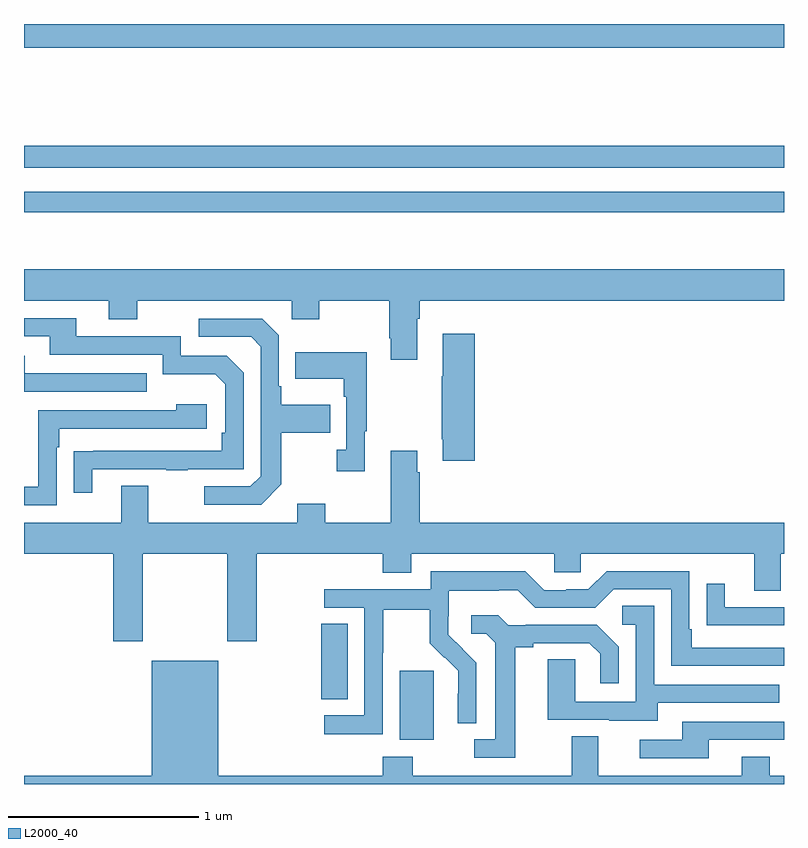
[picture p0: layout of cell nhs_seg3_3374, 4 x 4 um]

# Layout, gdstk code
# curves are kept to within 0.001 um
import gdstk
lib = gdstk.Library(unit=1e-6, precision=1e-09)
def R(c, l, rs):  # rectangles x0, y0, x1, y1
    for r in rs: c.add(gdstk.rectangle(r[:2], r[2:], *l))
def P(c, l, *ps):  # polygons
    for p in ps: c.add(gdstk.Polygon(p, *l))
L2000_40 = (2000, 40)

nhs_seg3_3374 = lib.new_cell('nhs_seg3_3374')
R(nhs_seg3_3374, L2000_40, [(288.977,670.634,289.156,670.995), (288.565,670.846,288.703,671.243), (287,673.41,291,673.518), (287,673.644,291,673.76), (287,674.276,291,674.4)])
P(nhs_seg3_3374, L2000_40, [(289.069,672.848),(289.082,672.848),(289.082,672.944),(291,672.944),(291,673.108),(287,673.108),(287,672.944),(287.447,672.944),(287.447,672.845),(287.595,672.845),(287.595,672.944),(288.408,672.944),(288.408,672.845),(288.555,672.845),(288.555,672.944),(288.922,672.944),(288.922,672.745),(288.929,672.745),(288.929,672.633),(289.069,672.633)],
  [(287.359,672.057),(287.749,672.057),(287.749,672.052),(287.861,672.052),(287.861,672.057),(288.156,672.057),(288.156,672.564),(288.066,672.654),(287.826,672.654),(287.826,672.756),(287.275,672.756),(287.275,672.852),(287,672.852),(287,672.756),(287.135,672.756),(287.135,672.66),(287.73,672.66),(287.73,672.557),(288.007,672.557),(288.06,672.504),(288.06,672.25),(288.04,672.25),(288.04,672.153),(287.263,672.152),(287.263,671.934),(287.359,671.934)],
  [(288.355,671.977),(288.355,672.25),(288.611,672.25),(288.611,672.397),(288.355,672.397),(288.355,672.493),(288.342,672.493),(288.342,672.762),(288.255,672.849),(287.919,672.849),(287.919,672.753),(288.195,672.753),(288.246,672.702),(288.246,672.021),(288.192,671.967),(287.949,671.967),(287.949,671.871),(288.249,671.871)],
  [(289.373,672.769),(289.205,672.769),(289.205,672.545),(289.198,672.545),(289.198,672.214),(289.205,672.214),(289.205,672.102),(289.373,672.102)],
  [(288.793,672.257),(288.805,672.257),(288.805,672.673),(288.427,672.673),(288.427,672.533),(288.684,672.533),(288.684,672.437),(288.696,672.437),(288.696,672.158),(288.645,672.158),(288.645,672.045),(288.793,672.045)],
  [(287.645,672.561),(287.005,672.561),(287.005,672.655),(287,672.655),(287,672.465),(287.645,672.465)],
  [(287.172,672.173),(287.185,672.173),(287.185,672.27),(287.962,672.27),(287.962,672.4),(287.801,672.4),(287.801,672.366),(287.076,672.366),(287.076,671.964),(287,671.964),(287,671.868),(287.172,671.868)],
  [(287.625,671.612),(288.07,671.612),(288.07,671.151),(288.225,671.151),(288.225,671.612),(288.887,671.612),(288.887,671.513),(289.039,671.513),(289.039,671.612),(289.791,671.612),(289.791,671.514),(289.929,671.514),(289.929,671.612),(290.843,671.612),(290.843,671.418),(290.983,671.418),(290.983,671.612),(291,671.612),(291,671.776),(289.082,671.776),(289.082,672.041),(289.069,672.041),(289.069,672.154),(288.929,672.154),(288.929,671.776),(288.585,671.776),(288.585,671.875),(288.437,671.875),(288.437,671.776),(287.653,671.776),(287.653,671.971),(287.513,671.971),(287.513,671.776),(287,671.776),(287,671.612),(287.47,671.612),(287.47,671.151),(287.625,671.151)],
  [(288.888,671.092),(288.891,671.092),(288.891,671.316),(289.135,671.316),(289.135,671.141),(289.212,671.064),(289.215,671.067),(289.286,670.997),(289.286,670.874),(289.284,670.874),(289.284,670.72),(289.38,670.72),(289.38,671.038),(289.234,671.186),(289.234,671.283),(289.236,671.283),(289.236,671.417),(289.499,671.417),(289.499,671.421),(289.599,671.421),(289.692,671.328),(290.007,671.328),(290.103,671.424),(290.406,671.424),(290.406,671.022),(291,671.022),(291,671.118),(290.515,671.118),(290.515,671.215),(290.502,671.215),(290.502,671.52),(290.067,671.52),(289.971,671.424),(289.853,671.424),(289.853,671.421),(289.737,671.421),(289.637,671.521),(289.14,671.521),(289.14,671.424),(288.579,671.424),(288.579,671.328),(288.792,671.328),(288.792,670.761),(288.579,670.761),(288.579,670.663),(288.888,670.663)],
  [(291,671.331),(290.689,671.331),(290.689,671.455),(290.593,671.455),(290.593,671.236),(290.695,671.236),(290.695,671.235),(291,671.235)],
  [(290.335,670.827),(290.975,670.827),(290.975,670.923),(290.316,670.923),(290.316,671.339),(290.148,671.339),(290.148,671.238),(290.22,671.238),(290.22,670.833),(289.902,670.833),(289.902,671.057),(289.757,671.057),(289.757,670.737),(290.081,670.737),(290.081,670.733),(290.335,670.733)],
  [(289.585,671.12),(289.681,671.12),(289.681,671.142),(289.976,671.142),(290.033,671.085),(290.033,670.929),(290.13,670.929),(290.13,671.122),(290.014,671.238),(289.642,671.238),(289.642,671.235),(289.548,671.235),(289.496,671.287),(289.353,671.287),(289.353,671.19),(289.434,671.19),(289.481,671.143),(289.481,670.635),(289.371,670.635),(289.371,670.539),(289.585,670.539)],
  [(291,670.444),(290.925,670.444),(290.925,670.543),(290.777,670.543),(290.777,670.444),(290.023,670.444),(290.023,670.652),(289.883,670.652),(289.883,670.444),(289.047,670.444),(289.047,670.543),(288.887,670.543),(288.887,670.444),(288.022,670.444),(288.022,671.05),(287.672,671.05),(287.672,670.444),(287,670.444),(287,670.4),(291,670.4)],
  [(290.605,670.632),(291,670.632),(291,670.728),(290.465,670.728),(290.465,670.632),(290.241,670.632),(290.241,670.536),(290.605,670.536)])

lib.write_gds('nhs_seg3_3374.gds')
